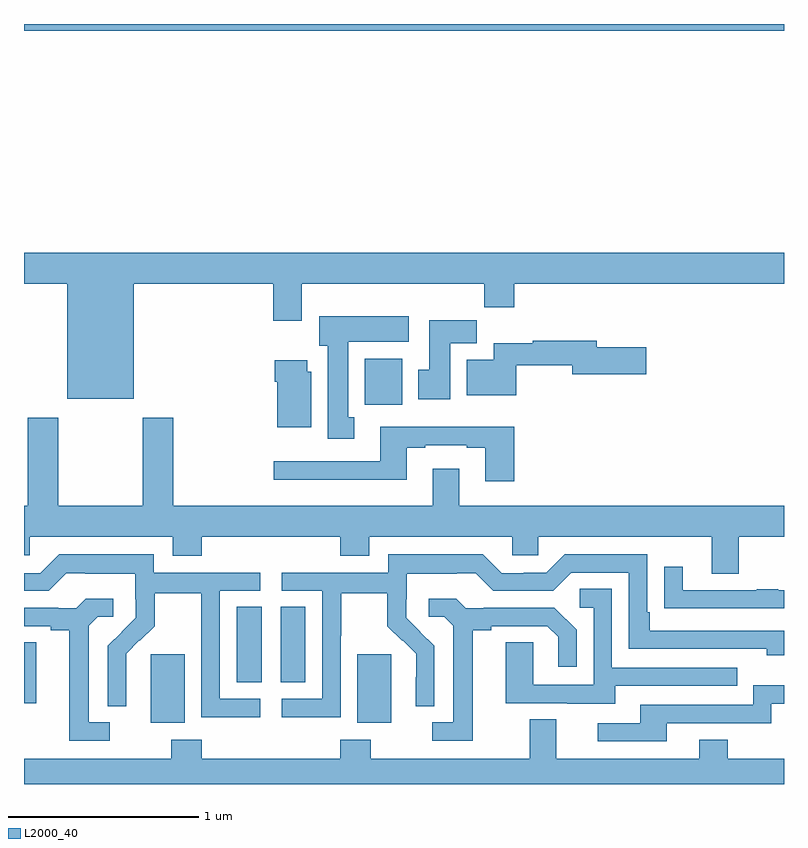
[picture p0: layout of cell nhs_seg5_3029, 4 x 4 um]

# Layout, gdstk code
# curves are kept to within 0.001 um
import gdstk
lib = gdstk.Library(unit=1e-6, precision=1e-09)
def R(c, l, rs):  # rectangles x0, y0, x1, y1
    for r in rs: c.add(gdstk.rectangle(r[:2], r[2:], *l))
def P(c, l, *ps):  # polygons
    for p in ps: c.add(gdstk.Polygon(p, *l))
L2000_40 = (2000, 40)

nhs_seg5_3029 = lib.new_cell('nhs_seg5_3029')
R(nhs_seg5_3029, L2000_40, [(287.666,849.122,287.845,849.483), (288.755,849.122,288.934,849.483), (287,849.225,287.065,849.545), (288.119,849.334,288.25,849.731), (288.35,849.334,288.481,849.731), (288.794,850.796,288.991,851.038), (287,852.764,291,852.799)])
P(nhs_seg5_3029, L2000_40, [(287.578,851.432),(288.311,851.432),(288.311,851.238),(288.463,851.238),(288.463,851.432),(289.423,851.432),(289.423,851.308),(289.58,851.308),(289.58,851.432),(291,851.432),(291,851.596),(287,851.596),(287,851.432),(287.228,851.432),(287.228,850.826),(287.578,850.826)],
  [(288.739,850.73),(288.706,850.73),(288.706,851.126),(289.024,851.126),(289.024,851.26),(288.554,851.26),(288.554,851.106),(288.599,851.106),(288.599,850.617),(288.739,850.617)],
  [(289.243,851.12),(289.382,851.12),(289.382,851.239),(289.133,851.239),(289.133,850.98),(289.076,850.98),(289.076,850.824),(289.243,850.824)],
  [(289.59,851.002),(289.886,851.002),(289.886,850.955),(290.275,850.955),(290.275,851.097),(290.014,851.097),(290.014,851.131),(289.678,851.131),(289.678,851.12),(289.472,851.12),(289.472,851.032),(289.331,851.032),(289.331,850.844),(289.59,850.844)],
  [(288.511,850.968),(288.49,850.968),(288.49,851.029),(288.32,851.029),(288.32,850.916),(288.332,850.916),(288.332,850.676),(288.511,850.676)],
  [(290.761,850.1),(291,850.1),(291,850.264),(289.291,850.264),(289.291,850.459),(289.151,850.459),(289.151,850.264),(287.786,850.264),(287.786,850.726),(287.626,850.726),(287.626,850.264),(287.181,850.264),(287.181,850.726),(287.021,850.726),(287.021,850.264),(287,850.264),(287,850.002),(287.031,850.002),(287.031,850.1),(287.783,850.1),(287.783,850.001),(287.936,850.001),(287.936,850.1),(288.665,850.1),(288.665,850.001),(288.817,850.001),(288.817,850.1),(289.569,850.1),(289.569,850.002),(289.707,850.002),(289.707,850.1),(290.621,850.1),(290.621,849.906),(290.761,849.906)],
  [(289.58,850.678),(288.875,850.678),(288.875,850.497),(288.315,850.497),(288.315,850.4),(289.015,850.4),(289.015,850.569),(289.111,850.569),(289.111,850.581),(289.331,850.581),(289.331,850.569),(289.427,850.569),(289.427,850.392),(289.58,850.392)],
  [(288.666,849.58),(288.669,849.58),(288.669,849.804),(288.913,849.804),(288.913,849.629),(288.99,849.552),(288.993,849.555),(289.064,849.485),(289.064,849.362),(289.062,849.362),(289.062,849.208),(289.158,849.208),(289.158,849.526),(289.012,849.674),(289.012,849.771),(289.014,849.771),(289.014,849.905),(289.277,849.905),(289.277,849.909),(289.377,849.909),(289.47,849.816),(289.785,849.816),(289.881,849.912),(290.184,849.912),(290.184,849.51),(290.909,849.51),(290.909,849.476),(291,849.476),(291,849.606),(290.293,849.606),(290.293,849.703),(290.28,849.703),(290.28,850.008),(289.845,850.008),(289.749,849.912),(289.631,849.912),(289.631,849.909),(289.515,849.909),(289.415,850.009),(288.918,850.009),(288.918,849.912),(288.357,849.912),(288.357,849.816),(288.57,849.816),(288.57,849.249),(288.357,849.249),(288.357,849.151),(288.666,849.151)],
  [(288.244,849.249),(288.03,849.249),(288.03,849.816),(288.244,849.816),(288.244,849.912),(287.682,849.912),(287.682,850.009),(287.185,850.009),(287.085,849.909),(287,849.909),(287,849.816),(287.13,849.816),(287.223,849.909),(287.323,849.909),(287.323,849.905),(287.586,849.905),(287.586,849.771),(287.588,849.771),(287.588,849.674),(287.442,849.526),(287.442,849.208),(287.538,849.208),(287.537,849.485),(287.607,849.555),(287.61,849.552),(287.687,849.629),(287.687,849.804),(287.932,849.804),(287.932,849.58),(287.934,849.58),(287.934,849.151),(288.244,849.151)],
  [(291,849.819),(290.969,849.819),(290.969,849.824),(290.857,849.824),(290.857,849.819),(290.467,849.819),(290.467,849.943),(290.371,849.943),(290.371,849.724),(290.473,849.724),(290.473,849.723),(291,849.723)],
  [(290.113,849.315),(290.753,849.315),(290.753,849.411),(290.094,849.411),(290.094,849.827),(289.926,849.827),(289.926,849.726),(289.998,849.726),(289.998,849.321),(289.68,849.321),(289.68,849.545),(289.535,849.545),(289.535,849.225),(289.859,849.225),(289.859,849.221),(290.113,849.221)],
  [(287.452,849.123),(287.341,849.123),(287.341,849.631),(287.388,849.678),(287.47,849.678),(287.47,849.775),(287.326,849.775),(287.274,849.723),(287.18,849.723),(287.18,849.726),(287,849.726),(287,849.63),(287.141,849.63),(287.141,849.608),(287.237,849.608),(287.237,849.027),(287.452,849.027)],
  [(289.363,849.608),(289.459,849.608),(289.459,849.63),(289.754,849.63),(289.811,849.573),(289.811,849.417),(289.908,849.417),(289.908,849.61),(289.792,849.726),(289.42,849.726),(289.42,849.723),(289.326,849.723),(289.274,849.775),(289.131,849.775),(289.131,849.678),(289.212,849.678),(289.259,849.631),(289.259,849.123),(289.149,849.123),(289.149,849.027),(289.363,849.027)],
  [(290.383,849.12),(290.934,849.12),(290.934,849.222),(291,849.222),(291,849.319),(290.838,849.319),(290.838,849.216),(290.243,849.216),(290.243,849.12),(290.019,849.12),(290.019,849.024),(290.383,849.024)],
  [(291,848.932),(290.703,848.932),(290.703,849.031),(290.555,849.031),(290.555,848.932),(289.801,848.932),(289.801,849.14),(289.661,849.14),(289.661,848.932),(288.825,848.932),(288.825,849.031),(288.665,849.031),(288.665,848.932),(287.936,848.932),(287.936,849.031),(287.776,849.031),(287.776,848.932),(287,848.932),(287,848.799),(291,848.799)])

lib.write_gds('nhs_seg5_3029.gds')
